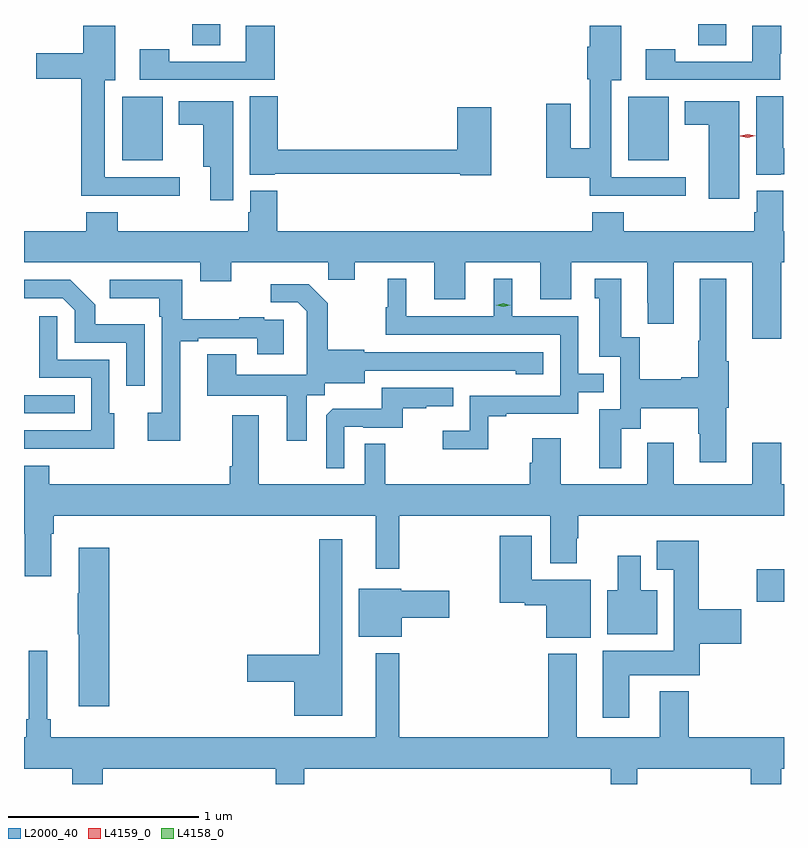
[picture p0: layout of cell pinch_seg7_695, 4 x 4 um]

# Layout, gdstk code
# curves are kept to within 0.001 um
import gdstk
lib = gdstk.Library(unit=1e-6, precision=1e-09)
def R(c, l, rs):  # rectangles x0, y0, x1, y1
    for r in rs: c.add(gdstk.rectangle(r[:2], r[2:], *l))
def P(c, l, *ps):  # polygons
    for p in ps: c.add(gdstk.Polygon(p, *l))
L2000_40 = (2000, 40)
L4158_0 = (4158, 0)
L4159_0 = (4159, 0)

pinch_seg7_695 = lib.new_cell('pinch_seg7_695')
R(pinch_seg7_695, L2000_40, [(351.168,1002.827,351.311,1002.997), (347.311,1003.818,347.579,1003.914), (347.828,1005.149,348.04,1005.484), (350.492,1005.149,350.704,1005.484), (348.196,1005.754,348.343,1005.867), (350.86,1005.754,351.007,1005.867)])
P(pinch_seg7_695, L2000_40, [(350.794,1005.06),(350.401,1005.06),(350.401,1005.572),(350.455,1005.572),(350.455,1005.859),(350.288,1005.859),(350.288,1005.746),(350.276,1005.746),(350.276,1005.576),(350.288,1005.576),(350.288,1005.212),(350.188,1005.212),(350.188,1005.448),(350.059,1005.448),(350.059,1005.059),(350.288,1005.059),(350.288,1004.963),(350.794,1004.963)],
  [(351.291,1005.711),(351.296,1005.711),(351.296,1005.859),(351.143,1005.859),(351.143,1005.669),(350.739,1005.669),(350.739,1005.733),(350.583,1005.733),(350.583,1005.573),(351.291,1005.573)],
  [(348.13,1005.06),(347.737,1005.06),(347.737,1005.572),(347.791,1005.572),(347.791,1005.859),(347.624,1005.859),(347.624,1005.712),(347.376,1005.712),(347.376,1005.578),(347.612,1005.578),(347.612,1004.963),(348.13,1004.963)],
  [(348.632,1005.859),(348.479,1005.859),(348.479,1005.669),(348.075,1005.669),(348.075,1005.733),(347.919,1005.733),(347.919,1005.573),(348.632,1005.573)],
  [(351.294,1005.077),(351.311,1005.077),(351.311,1005.212),(351.306,1005.212),(351.306,1005.488),(351.164,1005.488),(351.164,1005.074),(351.294,1005.074)],
  [(349.77,1005.43),(349.592,1005.43),(349.592,1005.206),(348.647,1005.206),(348.647,1005.488),(348.5,1005.488),(348.5,1005.074),(348.63,1005.074),(348.63,1005.078),(349.608,1005.078),(349.608,1005.07),(349.77,1005.07)],
  [(351.076,1005.46),(350.789,1005.46),(350.789,1005.338),(350.915,1005.338),(350.915,1004.948),(351.076,1004.948)],
  [(348.412,1005.46),(348.125,1005.46),(348.125,1005.338),(348.254,1005.338),(348.254,1005.116),(348.29,1005.116),(348.29,1004.94),(348.412,1004.94)],
  [(350.468,1004.875),(350.303,1004.875),(350.303,1004.776),(348.644,1004.776),(348.644,1004.989),(348.503,1004.989),(348.503,1004.877),(348.491,1004.877),(348.491,1004.776),(347.804,1004.776),(347.804,1004.875),(347.639,1004.875),(347.639,1004.776),(347.311,1004.776),(347.311,1004.612),(348.239,1004.612),(348.239,1004.513),(348.403,1004.513),(348.403,1004.612),(348.913,1004.612),(348.913,1004.522),(349.051,1004.522),(349.051,1004.612),(349.469,1004.612),(349.469,1004.418),(349.633,1004.418),(349.633,1004.612),(350.027,1004.612),(350.027,1004.418),(350.191,1004.418),(350.191,1004.612),(350.591,1004.612),(350.591,1004.401),(350.594,1004.401),(350.594,1004.289),(350.731,1004.289),(350.731,1004.612),(351.143,1004.612),(351.143,1004.211),(351.296,1004.211),(351.296,1004.612),(351.311,1004.612),(351.311,1004.776),(351.308,1004.776),(351.308,1004.989),(351.167,1004.989),(351.167,1004.877),(351.155,1004.877),(351.155,1004.776),(350.468,1004.776)],
  [(350.455,1003.738),(350.557,1003.738),(350.557,1003.844),(350.86,1003.844),(350.86,1003.71),(350.867,1003.71),(350.867,1003.56),(351.007,1003.56),(351.007,1003.848),(351.02,1003.848),(351.02,1004.092),(351.007,1004.092),(351.007,1004.527),(350.867,1004.527),(350.867,1004.201),(350.86,1004.201),(350.86,1004.009),(350.771,1004.009),(350.771,1003.996),(350.553,1003.996),(350.553,1004.219),(350.455,1004.219),(350.455,1004.527),(350.315,1004.527),(350.315,1004.424),(350.339,1004.424),(350.339,1004.115),(350.448,1004.115),(350.448,1003.839),(350.339,1003.839),(350.339,1003.53),(350.455,1003.53)],
  [(349.755,1003.803),(349.849,1003.803),(349.849,1003.815),(350.229,1003.815),(350.229,1003.929),(350.363,1003.929),(350.363,1004.025),(350.229,1004.025),(350.229,1004.328),(349.882,1004.328),(349.882,1004.527),(349.784,1004.527),(349.784,1004.328),(349.324,1004.328),(349.324,1004.527),(349.226,1004.527),(349.226,1004.376),(349.215,1004.376),(349.215,1004.232),(350.133,1004.232),(350.133,1003.911),(349.656,1003.911),(349.656,1003.726),(349.515,1003.726),(349.515,1003.628),(349.755,1003.628)],
  [(347.946,1004.287),(347.685,1004.287),(347.685,1004.39),(347.554,1004.52),(347.311,1004.52),(347.311,1004.424),(347.514,1004.424),(347.577,1004.361),(347.577,1004.19),(347.85,1004.19),(347.85,1003.962),(347.946,1003.962)],
  [(348.133,1004.196),(348.229,1004.196),(348.229,1004.214),(348.539,1004.214),(348.539,1004.13),(348.679,1004.13),(348.679,1004.31),(348.575,1004.31),(348.575,1004.323),(348.443,1004.323),(348.443,1004.312),(348.145,1004.312),(348.145,1004.52),(347.763,1004.52),(347.763,1004.423),(348.024,1004.423),(348.024,1004.327),(348.036,1004.327),(348.036,1003.822),(347.961,1003.822),(347.961,1003.674),(348.133,1003.674)],
  [(348.799,1003.912),(348.894,1003.912),(348.894,1003.976),(349.105,1003.976),(349.105,1004.043),(349.899,1004.042),(349.899,1004.024),(350.044,1004.024),(350.044,1004.139),(349.101,1004.139),(349.101,1004.152),(348.909,1004.152),(348.909,1004.397),(348.809,1004.497),(348.609,1004.497),(348.609,1004.403),(348.753,1004.403),(348.8,1004.356),(348.8,1004.261),(348.798,1004.261),(348.798,1004.02),(348.427,1004.02),(348.427,1004.129),(348.275,1004.129),(348.275,1003.91),(348.695,1003.91),(348.695,1003.674),(348.799,1003.674)],
  [(347.785,1003.818),(347.76,1003.818),(347.76,1004.1),(347.487,1004.1),(347.487,1004.329),(347.391,1004.329),(347.391,1004.004),(347.664,1004.004),(347.664,1003.728),(347.311,1003.728),(347.311,1003.632),(347.567,1003.632),(347.567,1003.631),(347.785,1003.631)],
  [(348.996,1003.746),(349.096,1003.746),(349.096,1003.743),(349.304,1003.743),(349.304,1003.845),(349.427,1003.845),(349.427,1003.856),(349.571,1003.856),(349.571,1003.953),(349.194,1003.953),(349.194,1003.841),(348.935,1003.841),(348.903,1003.809),(348.903,1003.529),(348.996,1003.529)],
  [(349.163,1002.999),(349.285,1002.999),(349.285,1003.28),(350.081,1003.28),(350.081,1003.028),(350.221,1003.028),(350.221,1003.16),(350.229,1003.16),(350.229,1003.28),(351.311,1003.28),(351.311,1003.444),(351.296,1003.444),(351.296,1003.663),(351.143,1003.663),(351.143,1003.444),(350.731,1003.444),(350.731,1003.663),(350.591,1003.663),(350.591,1003.444),(350.137,1003.444),(350.137,1003.687),(349.985,1003.687),(349.985,1003.557),(349.973,1003.557),(349.973,1003.444),(349.213,1003.444),(349.213,1003.658),(349.104,1003.658),(349.104,1003.444),(348.547,1003.444),(348.547,1003.807),(348.407,1003.807),(348.407,1003.54),(348.395,1003.54),(348.395,1003.444),(347.443,1003.444),(347.443,1003.543),(347.311,1003.543),(347.311,1003.184),(347.315,1003.184),(347.315,1002.96),(347.455,1002.96),(347.455,1003.184),(347.468,1003.184),(347.468,1003.28),(349.163,1003.28)],
  [(350.293,1002.943),(349.984,1002.943),(349.984,1003.174),(349.814,1003.174),(349.814,1002.821),(349.947,1002.821),(349.947,1002.809),(350.06,1002.809),(350.06,1002.638),(350.293,1002.638)],
  [(348.985,1003.156),(348.864,1003.156),(348.864,1002.548),(348.486,1002.548),(348.486,1002.406),(348.734,1002.406),(348.734,1002.227),(348.985,1002.227)],
  [(350.497,1002.44),(350.867,1002.44),(350.867,1002.605),(351.085,1002.605),(351.085,1002.788),(350.862,1002.788),(350.862,1003.147),(350.642,1003.147),(350.642,1002.995),(350.732,1002.995),(350.732,1002.568),(350.357,1002.568),(350.357,1002.216),(350.497,1002.216)],
  [(347.759,1003.111),(347.6,1003.111),(347.6,1002.872),(347.593,1002.872),(347.593,1002.655),(347.6,1002.655),(347.6,1002.276),(347.759,1002.276)],
  [(350.644,1002.886),(350.557,1002.886),(350.557,1003.069),(350.435,1003.069),(350.435,1002.886),(350.381,1002.886),(350.381,1002.656),(350.644,1002.656)],
  [(349.3,1002.743),(349.549,1002.743),(349.549,1002.885),(349.296,1002.885),(349.296,1002.895),(349.073,1002.895),(349.073,1002.641),(349.3,1002.641)],
  [(347.453,1002.208),(347.434,1002.208),(347.434,1002.568),(347.337,1002.568),(347.337,1002.208),(347.324,1002.208),(347.324,1002.112),(347.311,1002.112),(347.311,1001.948),(347.566,1001.948),(347.566,1001.867),(347.726,1001.867),(347.726,1001.948),(348.635,1001.948),(348.635,1001.867),(348.787,1001.867),(348.787,1001.948),(350.399,1001.948),(350.399,1001.867),(350.539,1001.867),(350.539,1001.948),(351.136,1001.948),(351.136,1001.867),(351.296,1001.867),(351.296,1001.948),(351.311,1001.948),(351.311,1002.112),(350.81,1002.112),(350.81,1002.355),(350.657,1002.355),(350.657,1002.112),(350.221,1002.112),(350.221,1002.553),(350.069,1002.553),(350.069,1002.112),(349.285,1002.112),(349.285,1002.556),(349.163,1002.556),(349.163,1002.112),(347.453,1002.112)])
P(pinch_seg7_695, L4158_0, [(349.833,1004.378),(349.797,1004.387),(349.797,1004.388),(349.797,1004.388),(349.833,1004.398),(349.869,1004.388),(349.869,1004.388),(349.869,1004.387)])
P(pinch_seg7_695, L4159_0, [(351.12,1005.268),(351.08,1005.277),(351.08,1005.278),(351.08,1005.278),(351.12,1005.288),(351.16,1005.278),(351.16,1005.278),(351.16,1005.278)])

lib.write_gds('pinch_seg7_695.gds')
